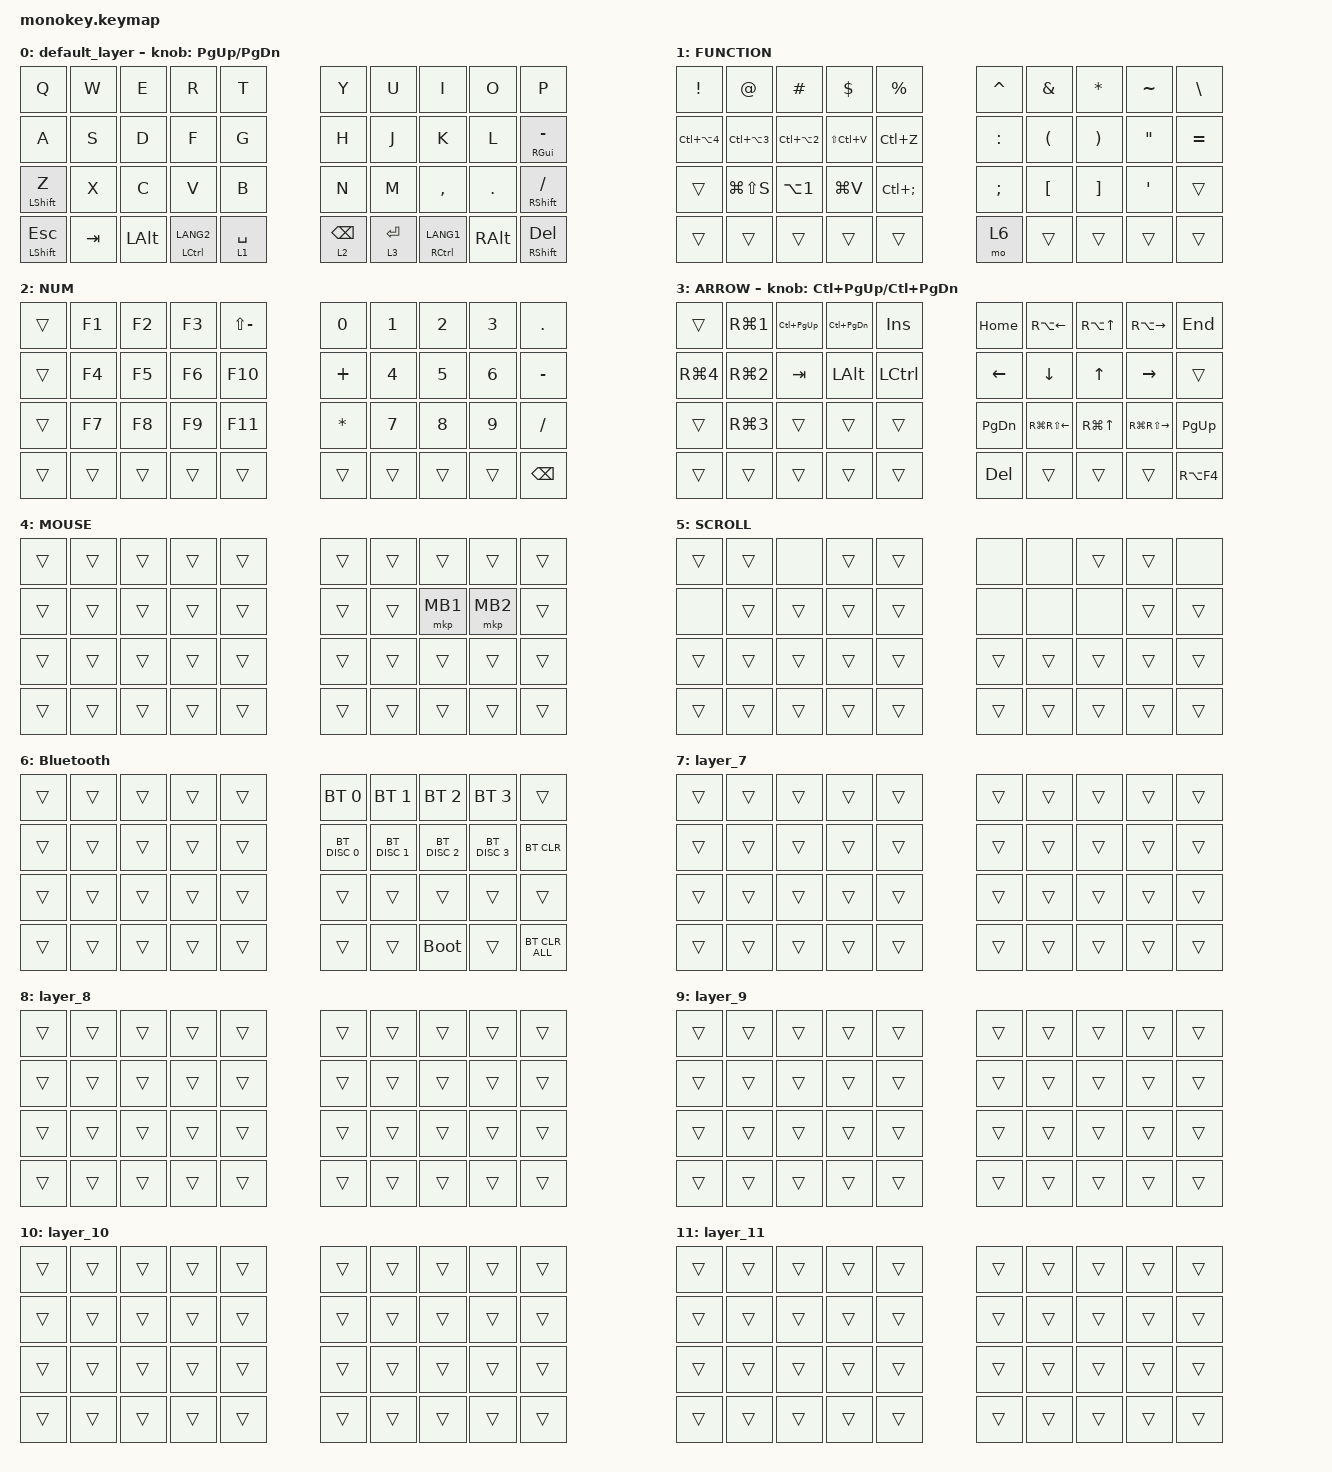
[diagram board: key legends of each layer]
#include <behaviors.dtsi>
#include <dt-bindings/zmk/bt.h>
#include <dt-bindings/zmk/keys.h>
#include <dt-bindings/zmk/pointing.h>

#define MOUSE 4
#define SCROLL 5
#define NUM 6

&mmv {
    time-to-max-speed-ms = <500>;
    acceleration-exponent = <1>;
};

&msc {
    time-to-max-speed-ms = <500>;
    acceleration-exponent = <1>;
};

&mt {
    flavor = "balanced";
    quick-tap-ms = <300>;
};

&lt { quick-tap-ms = <300>; };

/ {
    combos {
        compatible = "zmk,combos";

        scroll {
            bindings = <&mo 5>;
            key-positions = <17 18>;
        };

        colon {
            bindings = <&kp COLON>;
            key-positions = <16 6>;
            layers = <2>;
        };

        tab {
            bindings = <&kp TAB>;
            key-positions = <3 13>;
        };
    };

    behaviors {
        right_click: right_click_behavior {
            compatible = "zmk,behavior-mouse-key";
            label = "RIGHT_CLICK";
            #binding-cells = <0>;

            // 右クリックは通常 MB2 に対応（ZMKの標準定義）

            bindings = <&mkp MB2>;
        };
    };

    keymap {
        compatible = "zmk,keymap";

        default_layer {
            bindings = <
&kp Q               &kp W    &kp E         &kp R                   &kp T                           &kp Y        &kp U                    &kp I      &kp O          &kp P
&kp A               &kp S    &kp D         &kp F                   &kp G                           &kp H        &kp J                    &kp K      &kp L          &mt RIGHT_GUI MINUS
&mt LEFT_SHIFT Z    &kp X    &kp C         &kp V                   &kp B                           &kp N        &kp M                    &kp COMMA  &kp PERIOD     &mt RIGHT_SHIFT SLASH
&mt LEFT_SHIFT ESC  &kp TAB  &kp LEFT_ALT  &mt LEFT_CONTROL LANG2  &lt 1 SPACE  &lt 2 BACKSPACE    &lt 3 ENTER  &mt RIGHT_CONTROL LANG1             &kp RIGHT_ALT  &mt RIGHT_SHIFT DELETE
            >;

            sensor-bindings = <&inc_dec_kp PG_UP PAGE_DOWN>;
        };

        FUNCTION {
            bindings = <
&kp EXCLAMATION  &kp AT_SIGN     &kp HASH        &kp DOLLAR     &kp PERCENT            &kp CARET  &kp AMPERSAND         &kp ASTERISK           &kp TILDE          &kp BACKSLASH
&kp LC(LA(N4))   &kp LC(LA(N3))  &kp LC(LA(N2))  &kp LS(LC(V))  &kp LC(Z)              &kp COLON  &kp LEFT_PARENTHESIS  &kp RIGHT_PARENTHESIS  &kp DOUBLE_QUOTES  &kp EQUAL
&trans           &kp LG(LS(S))   &kp LA(N1)      &kp LG(V)      &kp LC(SEMI)           &kp SEMI   &kp LEFT_BRACKET      &kp RIGHT_BRACKET      &kp SINGLE_QUOTE   &trans
&trans           &trans          &trans          &trans         &trans        &mo 6    &trans     &trans                                       &trans             &trans
            >;
        };

        NUM {
            bindings = <
&trans  &kp F1  &kp F2  &kp F3  &kp LS(MINUS)            &kp N0        &kp N1  &kp N2  &kp N3  &kp PERIOD
&trans  &kp F4  &kp F5  &kp F6  &kp F10                  &kp PLUS      &kp N4  &kp N5  &kp N6  &kp MINUS
&trans  &kp F7  &kp F8  &kp F9  &kp F11                  &kp ASTERISK  &kp N7  &kp N8  &kp N9  &kp SLASH
&trans  &trans  &trans  &trans  &trans         &trans    &trans        &trans          &trans  &kp BACKSPACE
            >;
        };

        ARROW {
            bindings = <
&trans      &kp RG(N1)  &kp LC(PAGE_UP)  &kp LC(PAGE_DOWN)  &kp INSERT                      &kp HOME        &kp RA(LEFT_ARROW)      &kp RA(UP_ARROW)  &kp RA(RIGHT)      &kp END
&kp RG(N4)  &kp RG(N2)  &kp TAB          &kp LEFT_ALT       &kp LEFT_CONTROL                &kp LEFT_ARROW  &kp DOWN_ARROW          &kp UP_ARROW      &kp RIGHT_ARROW    &trans
&trans      &kp RG(N3)  &trans           &trans             &trans                          &kp PAGE_DOWN   &kp RG(RS(LEFT_ARROW))  &kp RG(UP_ARROW)  &kp RG(RS(RIGHT))  &kp PAGE_UP
&trans      &trans      &trans           &trans             &trans            &kp DELETE    &trans          &trans                                    &trans             &kp RA(F4)
            >;

            sensor-bindings = <&inc_dec_kp LC(PAGE_UP) LC(PAGE_DOWN)>;
        };

        MOUSE {
            bindings = <
&trans  &trans  &trans  &trans  &trans            &trans  &trans  &trans    &trans    &trans
&trans  &trans  &trans  &trans  &trans            &trans  &trans  &mkp MB1  &mkp MB2  &trans
&trans  &trans  &trans  &trans  &trans            &trans  &trans  &trans    &trans    &trans
&trans  &trans  &trans  &trans  &trans  &trans    &trans  &trans            &trans    &trans
            >;
        };

        SCROLL {
            bindings = <
&trans  &trans  &none   &trans  &trans            &none   &none   &trans  &trans  &none
&none   &trans  &trans  &trans  &trans            &none   &none   &none   &trans  &trans
&trans  &trans  &trans  &trans  &trans            &trans  &trans  &trans  &trans  &trans
&trans  &trans  &trans  &trans  &trans  &trans    &trans  &trans          &trans  &trans
            >;
        };

        Bluetooth {
            bindings = <
&trans  &trans  &trans  &trans  &trans            &bt BT_SEL 0   &bt BT_SEL 1   &bt BT_SEL 2   &bt BT_SEL 3   &trans
&trans  &trans  &trans  &trans  &trans            &bt BT_DISC 0  &bt BT_DISC 1  &bt BT_DISC 2  &bt BT_DISC 3  &bt BT_CLR
&trans  &trans  &trans  &trans  &trans            &trans         &trans         &trans         &trans         &trans
&trans  &trans  &trans  &trans  &trans  &trans    &trans         &bootloader                   &trans         &bt BT_CLR_ALL
            >;
        };

        layer_7 {
            bindings = <
&trans  &trans  &trans  &trans  &trans            &trans  &trans  &trans  &trans  &trans
&trans  &trans  &trans  &trans  &trans            &trans  &trans  &trans  &trans  &trans
&trans  &trans  &trans  &trans  &trans            &trans  &trans  &trans  &trans  &trans
&trans  &trans  &trans  &trans  &trans  &trans    &trans  &trans          &trans  &trans
            >;
        };

        layer_8 {
            bindings = <
&trans  &trans  &trans  &trans  &trans            &trans  &trans  &trans  &trans  &trans
&trans  &trans  &trans  &trans  &trans            &trans  &trans  &trans  &trans  &trans
&trans  &trans  &trans  &trans  &trans            &trans  &trans  &trans  &trans  &trans
&trans  &trans  &trans  &trans  &trans  &trans    &trans  &trans          &trans  &trans
            >;
        };

        layer_9 {
            bindings = <
&trans  &trans  &trans  &trans  &trans            &trans  &trans  &trans  &trans  &trans
&trans  &trans  &trans  &trans  &trans            &trans  &trans  &trans  &trans  &trans
&trans  &trans  &trans  &trans  &trans            &trans  &trans  &trans  &trans  &trans
&trans  &trans  &trans  &trans  &trans  &trans    &trans  &trans          &trans  &trans
            >;
        };

        layer_10 {
            bindings = <
&trans  &trans  &trans  &trans  &trans            &trans  &trans  &trans  &trans  &trans
&trans  &trans  &trans  &trans  &trans            &trans  &trans  &trans  &trans  &trans
&trans  &trans  &trans  &trans  &trans            &trans  &trans  &trans  &trans  &trans
&trans  &trans  &trans  &trans  &trans  &trans    &trans  &trans          &trans  &trans
            >;
        };

        layer_11 {
            bindings = <
&trans  &trans  &trans  &trans  &trans            &trans  &trans  &trans  &trans  &trans
&trans  &trans  &trans  &trans  &trans            &trans  &trans  &trans  &trans  &trans
&trans  &trans  &trans  &trans  &trans            &trans  &trans  &trans  &trans  &trans
&trans  &trans  &trans  &trans  &trans  &trans    &trans  &trans          &trans  &trans
            >;
        };
    };
};
